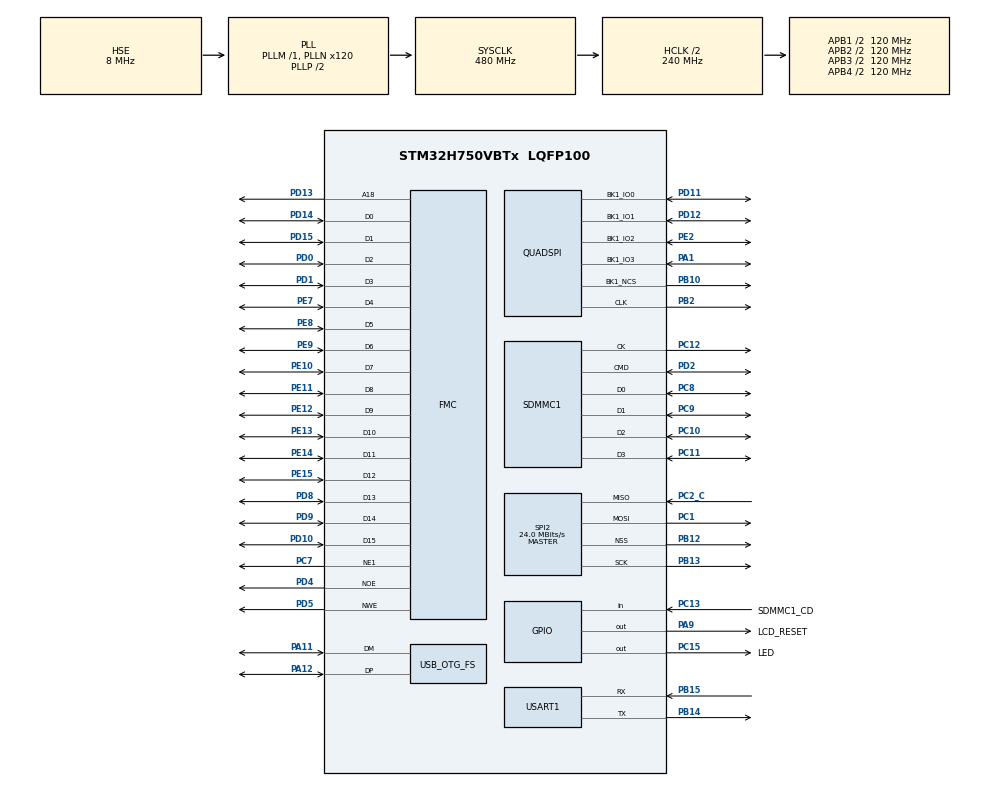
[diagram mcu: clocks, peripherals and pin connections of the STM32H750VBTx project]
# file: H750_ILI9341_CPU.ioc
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Mcu.Family=STM32H7
SH.FMC_D7_DA7.0=FMC_D7,16b-d1
SPI2.VirtualNSS=VM_NSSHARD
RCC.CortexFreq_Value=480000000
SPI2.VirtualType=VM_MASTER
PB10.Mode=Single Bank 1
RCC.HPRE=RCC_HCLK_DIV2
SH.FMC_D14_DA14.0=FMC_D14,16b-d1
PH0-OSC_IN\ (PH0).Signal=RCC_OSC_IN
PC10.Signal=SDMMC1_D2
PC12.Signal=SDMMC1_CK
RCC.PLLFRACN=0
SH.FMC_D6_DA6.0=FMC_D6,16b-d1
PA11.Mode=Device_Only
RCC.PLL2FRACN=0
PC13.GPIO_Label=SDMMC1_CD
SH.FMC_D5_DA5.0=FMC_D5,16b-d1
PB13.Signal=SPI2_SCK
PB15.Signal=USART1_RX
SH.FMC_NWE.0=FMC_NWE,Lcd1
RCC.SYSCLKSource=RCC_SYSCLKSOURCE_PLLCLK
ProjectManager.StackSize=0x400
SH.FMC_D9_DA9.0=FMC_D9,16b-d1
PD13.Signal=FMC_A18
PA14\ (JTCK/SWCLK).Signal=DEBUG_JTCK-SWCLK
PA12.Signal=USB_OTG_FS_DP
SH.FMC_D11_DA11.0=FMC_D11,16b-d1
FMC.BankMapConfig=FMC_SWAPBMAP_SDRAM_SRAM
RCC.HCLKFreq_Value=240000000
PE2.Mode=Single Bank 1
PD4.Signal=FMC_NOE
PC7.Signal=FMC_NE1
PD0.Signal=FMC_D2_DA2
PD8.Signal=FMC_D13_DA13
PC2_C.Signal=SPI2_MISO
SH.FMC_A18.0=FMC_A18,A18_1
PH1-OSC_OUT\ (PH1).Mode=HSE-External-Oscillator
RCC.HSE_VALUE=8000000
PB2.Signal=QUADSPI_CLK
SH.FMC_D8_DA8.0=FMC_D8,16b-d1
RCC.DIVM2=1
RCC.DIVM1=1
SH.FMC_D2_DA2.0=FMC_D2,16b-d1
FMC.BusTurnAroundDuration1=2
PE13.Signal=FMC_D10_DA10
FMC.DataSetupTime1=3
PE9.Signal=FMC_D6_DA6
PB14.Mode=Asynchronous
PC9.Mode=SD_4_bits_Wide_bus
SPI2.CalculateBaudRate=24.0 MBits/s
PE2.Signal=QUADSPI_BK1_IO2
PA14\ (JTCK/SWCLK).Mode=Serial_Wire
SH.FMC_D1_DA1.0=FMC_D1,16b-d1
PE10.Signal=FMC_D7_DA7
RCC.APB3Freq_Value=120000000
Mcu.Package=LQFP100
PB12.Mode=NSS_Signal_Hard_Output
SPI2.Mode=SPI_MODE_MASTER
SH.FMC_D0_DA0.0=FMC_D0,16b-d1
RCC.D1PPRE=RCC_APB3_DIV2
RCC.SDMMC1CLockSelection=RCC_SDMMCCLKSOURCE_PLL2
PD12.Signal=QUADSPI_BK1_IO1
USB_OTG_FS.VirtualMode=Device_Only
SH.FMC_D4_DA4.0=FMC_D4,16b-d1
PC11.Mode=SD_4_bits_Wide_bus
RCC.APB4Freq_Value=120000000
SPI2.Direction=SPI_DIRECTION_2LINES
PB13.Mode=Full_Duplex_Master
PE7.Signal=FMC_D4_DA4
PH0-OSC_IN\ (PH0).Mode=HSE-External-Oscillator
PD15.Signal=FMC_D1_DA1
SH.FMC_D3_DA3.0=FMC_D3,16b-d1
RCC.DIVQ1=20
FMC.ExtendedMode1=FMC_EXTENDED_MODE_DISABLE
PA13\ (JTMS/SWDIO).Mode=Serial_Wire
PC11.Signal=SDMMC1_D3
PA9.GPIO_Label=LCD_RESET
SH.FMC_D10_DA10.0=FMC_D10,16b-d1
PC13.Signal=GPIO_Input
PC8.Signal=SDMMC1_D0
PC10.Mode=SD_4_bits_Wide_bus
PD1.Signal=FMC_D3_DA3
RCC.D2PPRE2=RCC_APB2_DIV2
RCC.D2PPRE1=RCC_APB1_DIV2
PD9.Signal=FMC_D14_DA14
PD5.Signal=FMC_NWE
VP_RNG_VS_RNG.Mode=RNG_Activate
SH.FMC_NOE.0=FMC_NOE,Lcd1
PH1-OSC_OUT\ (PH1).Signal=RCC_OSC_OUT
PD10.Signal=FMC_D15_DA15
USART1.VirtualMode-Asynchronous=VM_ASYNC
FMC.AddressSetupTime1=2
ProjectManager.TargetToolchain=Makefile
PC15-OSC32_OUT\ (OSC32_OUT).Signal=GPIO_Output
SH.FMC_D15_DA15.0=FMC_D15,16b-d1
SH.FMC_D13_DA13.0=FMC_D13,16b-d1
PA9.Signal=GPIO_Output
RCC.DIVN2=30
RCC.DIVN1=120
PC2_C.Mode=Full_Duplex_Master
RCC.USBFreq_Value=48000000
PE11.Signal=FMC_D8_DA8
PA1.Signal=QUADSPI_BK1_IO3
PB10.Signal=QUADSPI_BK1_NCS
PB14.Signal=USART1_TX
PD2.Mode=SD_4_bits_Wide_bus
PC12.Mode=SD_4_bits_Wide_bus
board=custom
PB15.Mode=Asynchronous
RCC.APB2Freq_Value=120000000
PA1.Mode=Single Bank 1
PE14.Signal=FMC_D11_DA11
PE15.Signal=FMC_D12_DA12
PE8.Signal=FMC_D5_DA5
RCC.ADCFreq_Value=120000000
SH.FMC_D12_DA12.0=FMC_D12,16b-d1
Mcu.Name=STM32H750VBTx
PE12.Signal=FMC_D9_DA9
PD14.Signal=FMC_D0_DA0
PC8.Mode=SD_4_bits_Wide_bus
RCC.SYSCLKFreq_VALUE=480000000
PD12.Mode=Single Bank 1
PA12.Mode=Device_Only
PC15-OSC32_OUT\ (OSC32_OUT).GPIO_Label=LED
PD11.Signal=QUADSPI_BK1_IO0
PB2.Mode=Single Bank 1
RCC.QSPICLockSelection=RCC_QSPICLKSOURCE_PLL2
PA11.Signal=USB_OTG_FS_DM
ProjectManager.HeapSize=0x200
PD11.Mode=Single Bank 1
NVIC.PriorityGroup=NVIC_PRIORITYGROUP_4
RCC.D3PPRE=RCC_APB4_DIV2
PC9.Signal=SDMMC1_D1
PC7.Mode=NorPsramChipSelect1_1
PD2.Signal=SDMMC1_CMD
RCC.APB1Freq_Value=120000000
RCC.DIVR2=10
PC1.Signal=SPI2_MOSI
PB12.Signal=SPI2_NSS
PA13\ (JTMS/SWDIO).Signal=DEBUG_JTMS-SWDIO
PC1.Mode=Full_Duplex_Master

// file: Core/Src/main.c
/* USER CODE BEGIN Header */
/**
  ******************************************************************************
  * @file           : main.c
  * @brief          : Main program body
  ******************************************************************************
  * @attention
  *
  * <h2><center>&copy; Copyright (c) 2020 STMicroelectronics.
  * All rights reserved.</center></h2>
  *
  * This software component is licensed by ST under BSD 3-Clause license,
  * the "License"; You may not use this file except in compliance with the
  * License. You may obtain a copy of the License at:
  *                        opensource.org/licenses/BSD-3-Clause
  *
  ******************************************************************************
  */
/* USER CODE END Header */
#include "main.h"
#include "quadspi.h"
#include "rng.h"
#include "sdmmc.h"
#include "spi.h"
#include "usart.h"
#include "usb_otg.h"
#include "gpio.h"
#include "fmc.h"

/* USER CODE BEGIN Includes */
#include "H750_ILI9341_CPU.h"
#include "Hangle.h"

/* USER CODE END Includes */

void SystemClock_Config(void);

/* USER CODE BEGIN 0 */
void HAL_SYSTICK_Callback(void)
{
	static int cnt = -1000;

	cnt++;
	if(cnt > 500)
	{
		cnt = 0;

		HAL_GPIO_TogglePin(LED_GPIO_Port, LED_Pin);
	}
}

void Demo_Line(void)
{
	uint16_t i, x1, y1, x2, y2, color, w, h;
	uint32_t rn;

	w = LCD_GetWidth();
	h = LCD_GetHeight();

	LCD_Clear(WHITE);

	for(i = 0; i < 5000; i++)
	{
		HAL_RNG_GenerateRandomNumber(&hrng, &rn);
		x1 = rn % w;
		HAL_RNG_GenerateRandomNumber(&hrng, &rn);
		x2 = rn % w;
		HAL_RNG_GenerateRandomNumber(&hrng, &rn);
		y1 = rn % h;
		HAL_RNG_GenerateRandomNumber(&hrng, &rn);
		y2 = rn % h;
		HAL_RNG_GenerateRandomNumber(&hrng, &rn);
		color = rn % 0x10000;

		LCD_draw_line(x1, y1, x2, y2, color);
	}
}

void Demo_Circle(void)
{
	uint16_t i, x, y, r, color, w, h;
	uint32_t rn;

	w = LCD_GetWidth();
	h = LCD_GetHeight();

	LCD_Clear(WHITE);

	for(i = 0; i < 5000; i++)
	{
		HAL_RNG_GenerateRandomNumber(&hrng, &rn);
		x = rn % w;
		HAL_RNG_GenerateRandomNumber(&hrng, &rn);
		y = rn % h;
		HAL_RNG_GenerateRandomNumber(&hrng, &rn);
		r = rn % 100;
		HAL_RNG_GenerateRandomNumber(&hrng, &rn);
		color = rn % 0x10000;

		LCD_draw_circle(x, y, r, color);
	}
}

void Demo_Fill(void)
{
	uint16_t i, x1, y1, x2, y2, color, w, h;
	uint32_t rn;

	w = LCD_GetWidth();
	h = LCD_GetHeight();

	LCD_Clear(WHITE);

	for(i = 0; i < 5000; i++)
	{
		HAL_RNG_GenerateRandomNumber(&hrng, &rn);
		x1 = rn % w;
		HAL_RNG_GenerateRandomNumber(&hrng, &rn);
		x2 = rn % w;
		HAL_RNG_GenerateRandomNumber(&hrng, &rn);
		y1 = rn % h;
		HAL_RNG_GenerateRandomNumber(&hrng, &rn);
		y2 = rn % h;
		HAL_RNG_GenerateRandomNumber(&hrng, &rn);
		color = rn % 0x10000;

		LCD_fill(x1, y1, x2, y2, color);
	}
}

void Demo_Text(void)
{
	LCD_Clear(YELLOW);

	LCD_puts26x48(0, 0,   (uint8_t *)"Hello World.", TFT_STRING_MODE_BACKGROUND);
	LCD_puts18x32(0, 48,  (uint8_t *)"Hello World.", TFT_STRING_MODE_BACKGROUND);
	LCD_puts14x24(0, 80,  (uint8_t *)"Hello World.", TFT_STRING_MODE_BACKGROUND);
	LCD_puts8x16( 0, 104, (uint8_t *)"Hello World.", TFT_STRING_MODE_BACKGROUND);

	LCD_SetTextColor(BLUE);
	LCD_SetBackgroundColor(GREEN);
	LCD_puts14x24(0, 120,  (uint8_t *)"Blue Text.", TFT_STRING_MODE_BACKGROUND);
	LCD_puts14x24(0, 150,  (uint8_t *)"No Background Text.", TFT_STRING_MODE_NO_BACKGROUND);

	DisplayHangle(0, 180, "한글입니다. ABCDEFG");
}

/* USER CODE END 0 */

int main(void)
{
  /* USER CODE BEGIN 1 */
	int pos = 0;

  /* USER CODE END 1 */

  /* MCU Configuration--------------------------------------------------------*/

  /* Reset of all peripherals, Initializes the Flash interface and the Systick. */
  HAL_Init();

  /* Configure the system clock */
  SystemClock_Config();

  /* Initialize all configured peripherals */
  MX_GPIO_Init();
  MX_QUADSPI_Init();
  MX_SDMMC1_SD_Init();
  MX_USART1_UART_Init();
  MX_USB_OTG_FS_PCD_Init();
  MX_FMC_Init();
  MX_SPI2_Init();
  MX_RNG_Init();
  /* USER CODE BEGIN 2 */
  LCD_Init();

  volatile uint32_t id = LCD_Read_ID();
  (void)id;

  LCD_direction(1);

  LCD_Clear(RED);
  HAL_Delay(500);
  LCD_Clear(GREEN);
  HAL_Delay(500);
  LCD_Clear(BLUE);
  HAL_Delay(500);

  Demo_Line();
  HAL_Delay(500);
  Demo_Circle();
  HAL_Delay(500);
  Demo_Fill();
  HAL_Delay(500);
  Demo_Text();
  HAL_Delay(500);

  /* USER CODE END 2 */

  /* Infinite loop */
  /* USER CODE BEGIN WHILE */
  while (1)
  {
  	LCD_scroll(pos);
    HAL_Delay(50);

  	pos++;
  	if(pos >= LCD_GetWidth()) pos = 0;

    /* USER CODE END WHILE */

  }
}

void SystemClock_Config(void)
{
  RCC_OscInitTypeDef RCC_OscInitStruct = {0};
  RCC_ClkInitTypeDef RCC_ClkInitStruct = {0};
  RCC_PeriphCLKInitTypeDef PeriphClkInitStruct = {0};

  /** Supply configuration update enable
  */
  HAL_PWREx_ConfigSupply(PWR_LDO_SUPPLY);
  /** Configure the main internal regulator output voltage
  */
  __HAL_PWR_VOLTAGESCALING_CONFIG(PWR_REGULATOR_VOLTAGE_SCALE0);

  while(!__HAL_PWR_GET_FLAG(PWR_FLAG_VOSRDY)) {}
  /** Macro to configure the PLL clock source
  */
  __HAL_RCC_PLL_PLLSOURCE_CONFIG(RCC_PLLSOURCE_HSE);
  /** Initializes the RCC Oscillators according to the specified parameters
  * in the RCC_OscInitTypeDef structure.
  */
  RCC_OscInitStruct.OscillatorType = RCC_OSCILLATORTYPE_HSI48|RCC_OSCILLATORTYPE_HSE;
  RCC_OscInitStruct.HSEState = RCC_HSE_ON;
  RCC_OscInitStruct.HSI48State = RCC_HSI48_ON;
  RCC_OscInitStruct.PLL.PLLState = RCC_PLL_ON;
  RCC_OscInitStruct.PLL.PLLSource = RCC_PLLSOURCE_HSE;
  RCC_OscInitStruct.PLL.PLLM = 1;
  RCC_OscInitStruct.PLL.PLLN = 120;
  RCC_OscInitStruct.PLL.PLLP = 2;
  RCC_OscInitStruct.PLL.PLLQ = 20;
  RCC_OscInitStruct.PLL.PLLR = 2;
  RCC_OscInitStruct.PLL.PLLRGE = RCC_PLL1VCIRANGE_3;
  RCC_OscInitStruct.PLL.PLLVCOSEL = RCC_PLL1VCOWIDE;
  RCC_OscInitStruct.PLL.PLLFRACN = 0;
  if (HAL_RCC_OscConfig(&RCC_OscInitStruct) != HAL_OK)
  {
    Error_Handler();
  }
  /** Initializes the CPU, AHB and APB buses clocks
  */
  RCC_ClkInitStruct.ClockType = RCC_CLOCKTYPE_HCLK|RCC_CLOCKTYPE_SYSCLK
                              |RCC_CLOCKTYPE_PCLK1|RCC_CLOCKTYPE_PCLK2
                              |RCC_CLOCKTYPE_D3PCLK1|RCC_CLOCKTYPE_D1PCLK1;
  RCC_ClkInitStruct.SYSCLKSource = RCC_SYSCLKSOURCE_PLLCLK;
  RCC_ClkInitStruct.SYSCLKDivider = RCC_SYSCLK_DIV1;
  RCC_ClkInitStruct.AHBCLKDivider = RCC_HCLK_DIV2;
  RCC_ClkInitStruct.APB3CLKDivider = RCC_APB3_DIV2;
  RCC_ClkInitStruct.APB1CLKDivider = RCC_APB1_DIV2;
  RCC_ClkInitStruct.APB2CLKDivider = RCC_APB2_DIV2;
  RCC_ClkInitStruct.APB4CLKDivider = RCC_APB4_DIV2;

  if (HAL_RCC_ClockConfig(&RCC_ClkInitStruct, FLASH_LATENCY_4) != HAL_OK)
  {
    Error_Handler();
  }
  PeriphClkInitStruct.PeriphClockSelection = RCC_PERIPHCLK_USART1|RCC_PERIPHCLK_RNG
                              |RCC_PERIPHCLK_SPI2|RCC_PERIPHCLK_SDMMC
                              |RCC_PERIPHCLK_USB|RCC_PERIPHCLK_QSPI
                              |RCC_PERIPHCLK_FMC;
  PeriphClkInitStruct.PLL2.PLL2M = 1;
  PeriphClkInitStruct.PLL2.PLL2N = 30;
  PeriphClkInitStruct.PLL2.PLL2P = 2;
  PeriphClkInitStruct.PLL2.PLL2Q = 2;
  PeriphClkInitStruct.PLL2.PLL2R = 10;
  PeriphClkInitStruct.PLL2.PLL2RGE = RCC_PLL2VCIRANGE_3;
  PeriphClkInitStruct.PLL2.PLL2VCOSEL = RCC_PLL2VCOWIDE;
  PeriphClkInitStruct.PLL2.PLL2FRACN = 0;
  PeriphClkInitStruct.FmcClockSelection = RCC_FMCCLKSOURCE_D1HCLK;
  PeriphClkInitStruct.QspiClockSelection = RCC_QSPICLKSOURCE_PLL2;
  PeriphClkInitStruct.SdmmcClockSelection = RCC_SDMMCCLKSOURCE_PLL2;
  PeriphClkInitStruct.Spi123ClockSelection = RCC_SPI123CLKSOURCE_PLL;
  PeriphClkInitStruct.Usart16ClockSelection = RCC_USART16CLKSOURCE_D2PCLK2;
  PeriphClkInitStruct.RngClockSelection = RCC_RNGCLKSOURCE_HSI48;
  PeriphClkInitStruct.UsbClockSelection = RCC_USBCLKSOURCE_PLL;
  if (HAL_RCCEx_PeriphCLKConfig(&PeriphClkInitStruct) != HAL_OK)
  {
    Error_Handler();
  }
  /** Enable USB Voltage detector
  */
  HAL_PWREx_EnableUSBVoltageDetector();
}

void Error_Handler(void)
{
}

/************************ (C) COPYRIGHT STMicroelectronics *****END OF FILE****/
